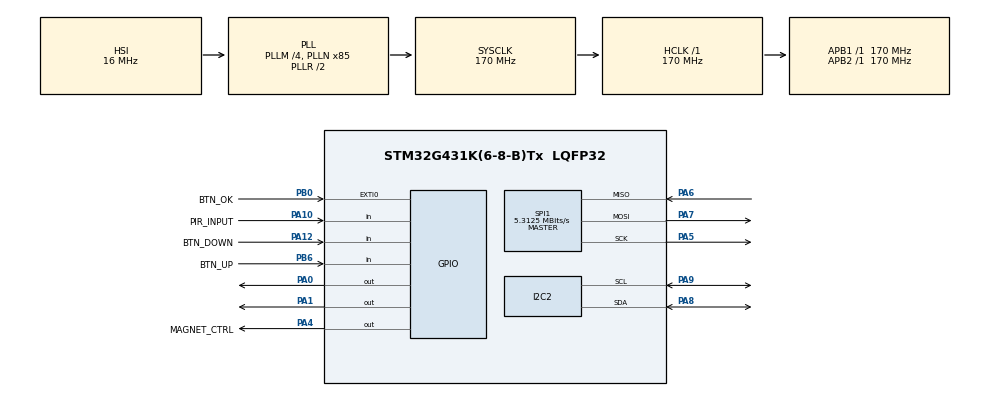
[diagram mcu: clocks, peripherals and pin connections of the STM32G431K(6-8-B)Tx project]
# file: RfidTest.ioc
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I2C2.Timing=0x40B285C2
Mcu.Family=STM32G4
Mcu.Name=STM32G431K(6-8-B)Tx
Mcu.Package=LQFP32
NUCLEO-G431KB.LD2=false
NUCLEO-G431KB.VCP=true
NVIC.EXTI0_IRQn=true\:0\:0\:false\:false\:true\:true\:true\:true
NVIC.PriorityGroup=NVIC_PRIORITYGROUP_4
PA0.Signal=GPIO_Output
PA1.Signal=GPIO_Output
PA10.GPIO_Label=PIR_INPUT
PA10.GPIO_PuPd=GPIO_PULLDOWN
PA10.Signal=GPIO_Input
PA12.GPIO_Label=BTN_DOWN
PA12.GPIO_PuPd=GPIO_PULLUP
PA12.Signal=GPIO_Input
PA13.Mode=Serial_Wire
PA13.Signal=SYS_JTMS-SWDIO
PA14.Mode=Serial_Wire
PA14.Signal=SYS_JTCK-SWCLK
PA2.TagName=VCP_TX
PA3.TagName=VCP_RX
PA4.GPIO_Label=MAGNET_CTRL
PA4.Signal=GPIO_Output
PA5.Mode=Full_Duplex_Master
PA5.Signal=SPI1_SCK
PA6.Mode=Full_Duplex_Master
PA6.Signal=SPI1_MISO
PA7.Mode=Full_Duplex_Master
PA7.Signal=SPI1_MOSI
PA8.Mode=I2C
PA8.Signal=I2C2_SDA
PA9.Mode=I2C
PA9.Signal=I2C2_SCL
PB0.GPIO_Label=BTN_OK
PB0.GPIO_PuPd=GPIO_PULLUP
PB0.Signal=GPXTI0
PB6.GPIO_Label=BTN_UP
PB6.GPIO_PuPd=GPIO_PULLUP
PB6.Signal=GPIO_Input
PF0-OSC_IN.Mode=HSE-External-Oscillator
PF0-OSC_IN.Signal=RCC_OSC_IN
PF1-OSC_OUT.Mode=HSE-External-Oscillator
PF1-OSC_OUT.Signal=RCC_OSC_OUT
ProjectManager.HeapSize=0x200
ProjectManager.StackSize=0x400
ProjectManager.TargetToolchain=STM32CubeIDE
RCC.ADC12Freq_Value=170000000
RCC.AHBFreq_Value=170000000
RCC.APB1Freq_Value=170000000
RCC.APB1TimFreq_Value=170000000
RCC.APB2Freq_Value=170000000
RCC.APB2TimFreq_Value=170000000
RCC.CortexFreq_Value=170000000
RCC.EXTERNAL_CLOCK_VALUE=12288000
RCC.HCLKFreq_Value=170000000
RCC.HSE_VALUE=8000000
RCC.HSI48_VALUE=48000000
RCC.HSI_VALUE=16000000
RCC.LSE_VALUE=32768
RCC.PLLM=RCC_PLLM_DIV4
RCC.PLLN=85
RCC.SYSCLKFreq_VALUE=170000000
RCC.SYSCLKSource=RCC_SYSCLKSOURCE_PLLCLK
RCC.USBFreq_Value=170000000
RCC.VCOOutputFreq_Value=340000000
SPI1.BaudRatePrescaler=SPI_BAUDRATEPRESCALER_32
SPI1.CalculateBaudRate=5.3125 MBits/s
SPI1.DataSize=SPI_DATASIZE_8BIT
SPI1.Direction=SPI_DIRECTION_2LINES
SPI1.Mode=SPI_MODE_MASTER
SPI1.NSSPMode=SPI_NSS_PULSE_DISABLE
SPI1.VirtualType=VM_MASTER
VP_NUCLEO-G431KB_VS_BSP_COMMON.Mode=COMMON
VP_RTC_VS_RTC_Activate.Mode=RTC_Enabled
VP_SYS_VS_DBSignals.Mode=DisableDeadBatterySignals
board=NUCLEO-G431KB

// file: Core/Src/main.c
/* USER CODE BEGIN Header */
/**
  ******************************************************************************
  * @file           : main.c
  * @brief          : Main program body
  ******************************************************************************
  * @attention
  *
  * Copyright (c) 2025 STMicroelectronics.
  * All rights reserved.
  *
  * This software is licensed under terms that can be found in the LICENSE file
  * in the root directory of this software component.
  * If no LICENSE file comes with this software, it is provided AS-IS.
  *
  ******************************************************************************
  */
/* USER CODE END Header */
#include "main.h"

/* USER CODE BEGIN Includes */
#include "rfid_handler.h"
#include "rfid_logic.h"
#include "RC522.h"
#include "scheduler.h"
#include "gate_control.h"
#include "config.h"
#include "menu_lcd.h"
/* USER CODE END Includes */

COM_InitTypeDef BspCOMInit;

I2C_HandleTypeDef hi2c2;

RTC_HandleTypeDef hrtc;

SPI_HandleTypeDef hspi1;

void SystemClock_Config(void);
static void MX_GPIO_Init(void);
static void MX_SPI1_Init(void);
static void MX_I2C2_Init(void);
static void MX_RTC_Init(void);

int main(void)
{

  /* MCU Configuration--------------------------------------------------------*/

  /* Reset of all peripherals, Initializes the Flash interface and the Systick. */
  HAL_Init();

  /* Configure the system clock */
  SystemClock_Config();

  /* Initialize all configured peripherals */
  MX_GPIO_Init();
  MX_SPI1_Init();
  MX_I2C2_Init();
  MX_RTC_Init();
  /* USER CODE BEGIN 2 */
  MFRC522_Init();
  rfid_logic_init();
  scheduler_init();
  lcd_menu_init();
  /* USER CODE END 2 */

  /* Initialize COM1 port (115200, 8 bits (7-bit data + 1 stop bit), no parity */
  BspCOMInit.BaudRate   = 115200;
  BspCOMInit.WordLength = COM_WORDLENGTH_8B;
  BspCOMInit.StopBits   = COM_STOPBITS_1;
  BspCOMInit.Parity     = COM_PARITY_NONE;
  BspCOMInit.HwFlowCtl  = COM_HWCONTROL_NONE;
  if (BSP_COM_Init(COM1, &BspCOMInit) != BSP_ERROR_NONE)
  {
    Error_Handler();
  }

  /* Infinite loop */
  while (1)
  {

    /* USER CODE BEGIN 3 */
	rfid_handler_poll();
	handle_menu_navigation();
    lcd_menu_timeout_check();

	HAL_Delay(100);
  /* USER CODE END 3 */
  }
}

void SystemClock_Config(void)
{
  RCC_OscInitTypeDef RCC_OscInitStruct = {0};
  RCC_ClkInitTypeDef RCC_ClkInitStruct = {0};

  /** Configure the main internal regulator output voltage
  */
  HAL_PWREx_ControlVoltageScaling(PWR_REGULATOR_VOLTAGE_SCALE1_BOOST);

  /** Initializes the RCC Oscillators according to the specified parameters
  * in the RCC_OscInitTypeDef structure.
  */
  RCC_OscInitStruct.OscillatorType = RCC_OSCILLATORTYPE_HSI|RCC_OSCILLATORTYPE_LSI;
  RCC_OscInitStruct.HSIState = RCC_HSI_ON;
  RCC_OscInitStruct.HSICalibrationValue = RCC_HSICALIBRATION_DEFAULT;
  RCC_OscInitStruct.LSIState = RCC_LSI_ON;
  RCC_OscInitStruct.PLL.PLLState = RCC_PLL_ON;
  RCC_OscInitStruct.PLL.PLLSource = RCC_PLLSOURCE_HSI;
  RCC_OscInitStruct.PLL.PLLM = RCC_PLLM_DIV4;
  RCC_OscInitStruct.PLL.PLLN = 85;
  RCC_OscInitStruct.PLL.PLLP = RCC_PLLP_DIV2;
  RCC_OscInitStruct.PLL.PLLQ = RCC_PLLQ_DIV2;
  RCC_OscInitStruct.PLL.PLLR = RCC_PLLR_DIV2;
  if (HAL_RCC_OscConfig(&RCC_OscInitStruct) != HAL_OK)
  {
    Error_Handler();
  }

  /** Initializes the CPU, AHB and APB buses clocks
  */
  RCC_ClkInitStruct.ClockType = RCC_CLOCKTYPE_HCLK|RCC_CLOCKTYPE_SYSCLK
                              |RCC_CLOCKTYPE_PCLK1|RCC_CLOCKTYPE_PCLK2;
  RCC_ClkInitStruct.SYSCLKSource = RCC_SYSCLKSOURCE_PLLCLK;
  RCC_ClkInitStruct.AHBCLKDivider = RCC_SYSCLK_DIV1;
  RCC_ClkInitStruct.APB1CLKDivider = RCC_HCLK_DIV1;
  RCC_ClkInitStruct.APB2CLKDivider = RCC_HCLK_DIV1;

  if (HAL_RCC_ClockConfig(&RCC_ClkInitStruct, FLASH_LATENCY_4) != HAL_OK)
  {
    Error_Handler();
  }
}

static void MX_I2C2_Init(void)
{

  hi2c2.Instance = I2C2;
  hi2c2.Init.Timing = 0x40B285C2;
  hi2c2.Init.OwnAddress1 = 0;
  hi2c2.Init.AddressingMode = I2C_ADDRESSINGMODE_7BIT;
  hi2c2.Init.DualAddressMode = I2C_DUALADDRESS_DISABLE;
  hi2c2.Init.OwnAddress2 = 0;
  hi2c2.Init.OwnAddress2Masks = I2C_OA2_NOMASK;
  hi2c2.Init.GeneralCallMode = I2C_GENERALCALL_DISABLE;
  hi2c2.Init.NoStretchMode = I2C_NOSTRETCH_DISABLE;
  if (HAL_I2C_Init(&hi2c2) != HAL_OK)
  {
    Error_Handler();
  }

  /** Configure Analogue filter
  */
  if (HAL_I2CEx_ConfigAnalogFilter(&hi2c2, I2C_ANALOGFILTER_ENABLE) != HAL_OK)
  {
    Error_Handler();
  }

  /** Configure Digital filter
  */
  if (HAL_I2CEx_ConfigDigitalFilter(&hi2c2, 0) != HAL_OK)
  {
    Error_Handler();
  }

}

static void MX_RTC_Init(void)
{

  /** Initialize RTC Only
  */
  hrtc.Instance = RTC;
  hrtc.Init.HourFormat = RTC_HOURFORMAT_24;
  hrtc.Init.AsynchPrediv = 127;
  hrtc.Init.SynchPrediv = 255;
  hrtc.Init.OutPut = RTC_OUTPUT_DISABLE;
  hrtc.Init.OutPutRemap = RTC_OUTPUT_REMAP_NONE;
  hrtc.Init.OutPutPolarity = RTC_OUTPUT_POLARITY_HIGH;
  hrtc.Init.OutPutType = RTC_OUTPUT_TYPE_OPENDRAIN;
  hrtc.Init.OutPutPullUp = RTC_OUTPUT_PULLUP_NONE;
  if (HAL_RTC_Init(&hrtc) != HAL_OK)
  {
    Error_Handler();
  }

}

static void MX_SPI1_Init(void)
{

  /* SPI1 parameter configuration*/
  hspi1.Instance = SPI1;
  hspi1.Init.Mode = SPI_MODE_MASTER;
  hspi1.Init.Direction = SPI_DIRECTION_2LINES;
  hspi1.Init.DataSize = SPI_DATASIZE_8BIT;
  hspi1.Init.CLKPolarity = SPI_POLARITY_LOW;
  hspi1.Init.CLKPhase = SPI_PHASE_1EDGE;
  hspi1.Init.NSS = SPI_NSS_SOFT;
  hspi1.Init.BaudRatePrescaler = SPI_BAUDRATEPRESCALER_32;
  hspi1.Init.FirstBit = SPI_FIRSTBIT_MSB;
  hspi1.Init.TIMode = SPI_TIMODE_DISABLE;
  hspi1.Init.CRCCalculation = SPI_CRCCALCULATION_DISABLE;
  hspi1.Init.CRCPolynomial = 7;
  hspi1.Init.CRCLength = SPI_CRC_LENGTH_DATASIZE;
  hspi1.Init.NSSPMode = SPI_NSS_PULSE_DISABLE;
  if (HAL_SPI_Init(&hspi1) != HAL_OK)
  {
    Error_Handler();
  }

}

static void MX_GPIO_Init(void)
{
  GPIO_InitTypeDef GPIO_InitStruct = {0};

  /* GPIO Ports Clock Enable */
  __HAL_RCC_GPIOF_CLK_ENABLE();
  __HAL_RCC_GPIOA_CLK_ENABLE();
  __HAL_RCC_GPIOB_CLK_ENABLE();

  /*Configure GPIO pin Output Level */
  HAL_GPIO_WritePin(GPIOA, GPIO_PIN_0|GPIO_PIN_1|MAGNET_CTRL_Pin, GPIO_PIN_RESET);

  /*Configure GPIO pins : PA0 PA1 MAGNET_CTRL_Pin */
  GPIO_InitStruct.Pin = GPIO_PIN_0|GPIO_PIN_1|MAGNET_CTRL_Pin;
  GPIO_InitStruct.Mode = GPIO_MODE_OUTPUT_PP;
  GPIO_InitStruct.Pull = GPIO_NOPULL;
  GPIO_InitStruct.Speed = GPIO_SPEED_FREQ_LOW;
  HAL_GPIO_Init(GPIOA, &GPIO_InitStruct);

  /*Configure GPIO pin : BTN_OK_Pin */
  GPIO_InitStruct.Pin = BTN_OK_Pin;
  GPIO_InitStruct.Mode = GPIO_MODE_IT_RISING;
  GPIO_InitStruct.Pull = GPIO_PULLUP;
  HAL_GPIO_Init(BTN_OK_GPIO_Port, &GPIO_InitStruct);

  /*Configure GPIO pin : PIR_INPUT_Pin */
  GPIO_InitStruct.Pin = PIR_INPUT_Pin;
  GPIO_InitStruct.Mode = GPIO_MODE_INPUT;
  GPIO_InitStruct.Pull = GPIO_PULLDOWN;
  HAL_GPIO_Init(PIR_INPUT_GPIO_Port, &GPIO_InitStruct);

  /*Configure GPIO pin : BTN_DOWN_Pin */
  GPIO_InitStruct.Pin = BTN_DOWN_Pin;
  GPIO_InitStruct.Mode = GPIO_MODE_INPUT;
  GPIO_InitStruct.Pull = GPIO_PULLUP;
  HAL_GPIO_Init(BTN_DOWN_GPIO_Port, &GPIO_InitStruct);

  /*Configure GPIO pin : BTN_UP_Pin */
  GPIO_InitStruct.Pin = BTN_UP_Pin;
  GPIO_InitStruct.Mode = GPIO_MODE_INPUT;
  GPIO_InitStruct.Pull = GPIO_PULLUP;
  HAL_GPIO_Init(BTN_UP_GPIO_Port, &GPIO_InitStruct);

  /* EXTI interrupt init*/
  HAL_NVIC_SetPriority(EXTI0_IRQn, 0, 0);
  HAL_NVIC_EnableIRQ(EXTI0_IRQn);

}

/* USER CODE BEGIN Header */
/**
  ******************************************************************************
  * @file           : main.c
  * @brief          : Main program body
  ******************************************************************************
  * @attention
  *
  * Copyright (c) 2025 STMicroelectronics.
  * All rights reserved.
  *
  * This software is licensed under terms that can be found in the LICENSE file
  * in the root directory of this software component.
  * If no LICENSE file comes with this software, it is provided AS-IS.
  *
  ******************************************************************************
  */
/* USER CODE END Header */

void Error_Handler(void)
{
  __disable_irq();
  while (1)
  {
  }
}
